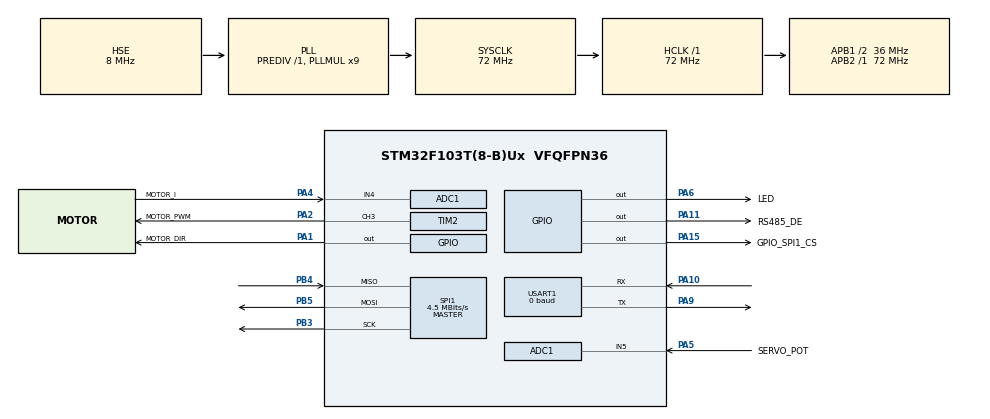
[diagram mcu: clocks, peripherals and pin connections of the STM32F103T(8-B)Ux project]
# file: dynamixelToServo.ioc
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ADC1.Channel-14\#ChannelRegularConversion=ADC_CHANNEL_4
ADC1.Channel-15\#ChannelRegularConversion=ADC_CHANNEL_4
ADC1.Channel-16\#ChannelRegularConversion=ADC_CHANNEL_4
ADC1.Channel-17\#ChannelRegularConversion=ADC_CHANNEL_4
ADC1.Channel-18\#ChannelRegularConversion=ADC_CHANNEL_5
ADC1.Channel-19\#ChannelRegularConversion=ADC_CHANNEL_5
ADC1.Channel-20\#ChannelRegularConversion=ADC_CHANNEL_5
ADC1.Channel-21\#ChannelRegularConversion=ADC_CHANNEL_5
ADC1.NbrOfConversion=8
ADC1.NbrOfConversionFlag=1
ADC1.Rank-14\#ChannelRegularConversion=1
ADC1.Rank-15\#ChannelRegularConversion=2
ADC1.Rank-16\#ChannelRegularConversion=3
ADC1.Rank-17\#ChannelRegularConversion=4
ADC1.Rank-18\#ChannelRegularConversion=5
ADC1.Rank-19\#ChannelRegularConversion=6
ADC1.Rank-20\#ChannelRegularConversion=7
ADC1.Rank-21\#ChannelRegularConversion=8
ADC1.SamplingTime-14\#ChannelRegularConversion=ADC_SAMPLETIME_1CYCLE_5
ADC1.SamplingTime-15\#ChannelRegularConversion=ADC_SAMPLETIME_1CYCLE_5
ADC1.SamplingTime-16\#ChannelRegularConversion=ADC_SAMPLETIME_1CYCLE_5
ADC1.SamplingTime-17\#ChannelRegularConversion=ADC_SAMPLETIME_1CYCLE_5
ADC1.SamplingTime-18\#ChannelRegularConversion=ADC_SAMPLETIME_1CYCLE_5
ADC1.SamplingTime-19\#ChannelRegularConversion=ADC_SAMPLETIME_1CYCLE_5
ADC1.SamplingTime-20\#ChannelRegularConversion=ADC_SAMPLETIME_1CYCLE_5
ADC1.SamplingTime-21\#ChannelRegularConversion=ADC_SAMPLETIME_1CYCLE_5
ADC1.master=1
Dma.ADC1.2.Direction=DMA_PERIPH_TO_MEMORY
Dma.ADC1.2.Instance=DMA1_Channel1
Dma.ADC1.2.MemDataAlignment=DMA_MDATAALIGN_HALFWORD
Dma.ADC1.2.MemInc=DMA_MINC_ENABLE
Dma.ADC1.2.Mode=DMA_CIRCULAR
Dma.ADC1.2.PeriphDataAlignment=DMA_PDATAALIGN_HALFWORD
Dma.ADC1.2.PeriphInc=DMA_PINC_DISABLE
Dma.ADC1.2.Priority=DMA_PRIORITY_LOW
Dma.Request0=USART1_RX
Dma.Request1=USART1_TX
Dma.Request2=ADC1
Dma.Request3=SPI1_RX
Dma.Request4=SPI1_TX
Dma.SPI1_RX.3.Direction=DMA_PERIPH_TO_MEMORY
Dma.SPI1_RX.3.Instance=DMA1_Channel2
Dma.SPI1_RX.3.MemDataAlignment=DMA_MDATAALIGN_BYTE
Dma.SPI1_RX.3.MemInc=DMA_MINC_ENABLE
Dma.SPI1_RX.3.Mode=DMA_NORMAL
Dma.SPI1_RX.3.PeriphDataAlignment=DMA_PDATAALIGN_BYTE
Dma.SPI1_RX.3.PeriphInc=DMA_PINC_DISABLE
Dma.SPI1_RX.3.Priority=DMA_PRIORITY_LOW
Dma.SPI1_TX.4.Direction=DMA_MEMORY_TO_PERIPH
Dma.SPI1_TX.4.Instance=DMA1_Channel3
Dma.SPI1_TX.4.MemDataAlignment=DMA_MDATAALIGN_BYTE
Dma.SPI1_TX.4.MemInc=DMA_MINC_ENABLE
Dma.SPI1_TX.4.Mode=DMA_NORMAL
Dma.SPI1_TX.4.PeriphDataAlignment=DMA_PDATAALIGN_BYTE
Dma.SPI1_TX.4.PeriphInc=DMA_PINC_DISABLE
Dma.SPI1_TX.4.Priority=DMA_PRIORITY_LOW
Dma.USART1_RX.0.Direction=DMA_PERIPH_TO_MEMORY
Dma.USART1_RX.0.Instance=DMA1_Channel5
Dma.USART1_RX.0.MemDataAlignment=DMA_MDATAALIGN_BYTE
Dma.USART1_RX.0.MemInc=DMA_MINC_ENABLE
Dma.USART1_RX.0.Mode=DMA_NORMAL
Dma.USART1_RX.0.PeriphDataAlignment=DMA_PDATAALIGN_BYTE
Dma.USART1_RX.0.PeriphInc=DMA_PINC_DISABLE
Dma.USART1_RX.0.Priority=DMA_PRIORITY_VERY_HIGH
Dma.USART1_TX.1.Direction=DMA_MEMORY_TO_PERIPH
Dma.USART1_TX.1.Instance=DMA1_Channel4
Dma.USART1_TX.1.MemDataAlignment=DMA_MDATAALIGN_BYTE
Dma.USART1_TX.1.MemInc=DMA_MINC_ENABLE
Dma.USART1_TX.1.Mode=DMA_NORMAL
Dma.USART1_TX.1.PeriphDataAlignment=DMA_PDATAALIGN_BYTE
Dma.USART1_TX.1.PeriphInc=DMA_PINC_DISABLE
Dma.USART1_TX.1.Priority=DMA_PRIORITY_VERY_HIGH
Mcu.Family=STM32F1
Mcu.Name=STM32F103T(8-B)Ux
Mcu.Package=VFQFPN36
NVIC.DMA1_Channel1_IRQn=true\:0\:0\:false\:false\:true\:false
NVIC.DMA1_Channel2_IRQn=true\:0\:0\:false\:false\:true\:false
NVIC.DMA1_Channel3_IRQn=true\:0\:0\:false\:false\:true\:false
NVIC.DMA1_Channel4_IRQn=true\:0\:0\:false\:false\:true\:false
NVIC.DMA1_Channel5_IRQn=true\:0\:0\:false\:false\:true\:false
NVIC.PriorityGroup=NVIC_PRIORITYGROUP_4
NVIC.SPI1_IRQn=true\:0\:0\:false\:false\:true\:true
NVIC.USART1_IRQn=true\:0\:0\:false\:false\:true\:true
PA1.GPIO_Label=MOTOR_DIR
PA1.Signal=GPIO_Output
PA10.Mode=Asynchronous
PA10.Signal=USART1_RX
PA11.GPIO_Label=RS485_DE
PA11.Signal=GPIO_Output
PA13.Mode=Serial_Wire
PA13.Signal=SYS_JTMS-SWDIO
PA14.Mode=Serial_Wire
PA14.Signal=SYS_JTCK-SWCLK
PA15.GPIO_Label=GPIO_SPI1_CS
PA15.GPIO_Speed=GPIO_SPEED_FREQ_HIGH
PA15.PinState=GPIO_PIN_SET
PA15.Signal=GPIO_Output
PA2.GPIO_Label=MOTOR_PWM
PA2.GPIO_Speed=GPIO_SPEED_FREQ_MEDIUM
PA2.Signal=S_TIM2_CH3
PA4.GPIO_Label=MOTOR_I
PA4.Signal=ADCx_IN4
PA5.GPIO_Label=SERVO_POT
PA5.Signal=ADCx_IN5
PA6.GPIO_Label=LED
PA6.Signal=GPIO_Output
PA9.Mode=Asynchronous
PA9.Signal=USART1_TX
PB3.Mode=Full_Duplex_Master
PB3.Signal=SPI1_SCK
PB4.Mode=Full_Duplex_Master
PB4.Signal=SPI1_MISO
PB5.Mode=Full_Duplex_Master
PB5.Signal=SPI1_MOSI
PD0-OSC_IN.Mode=HSE-External-Oscillator
PD0-OSC_IN.Signal=RCC_OSC_IN
PD1-OSC_OUT.Mode=HSE-External-Oscillator
PD1-OSC_OUT.Signal=RCC_OSC_OUT
ProjectManager.HeapSize=0x200
ProjectManager.StackSize=0x400
ProjectManager.TargetToolchain=Other Toolchains (GPDSC)
RCC.ADCPresc=RCC_ADCPCLK2_DIV6
RCC.AHBFreq_Value=72000000
RCC.APB1CLKDivider=RCC_HCLK_DIV2
RCC.APB1Freq_Value=36000000
RCC.APB1TimFreq_Value=72000000
RCC.APB2Freq_Value=72000000
RCC.APB2TimFreq_Value=72000000
RCC.EnbaleCSS=true
RCC.HCLKFreq_Value=72000000
RCC.PLLMUL=RCC_PLL_MUL9
RCC.PLLSourceVirtual=RCC_PLLSOURCE_HSE
RCC.SYSCLKFreq_VALUE=72000000
RCC.SYSCLKSource=RCC_SYSCLKSOURCE_PLLCLK
RCC.USBFreq_Value=72000000
SH.ADCx_IN4.0=ADC1_IN4,IN4
SH.ADCx_IN5.0=ADC1_IN5,IN5
SH.S_TIM2_CH3.0=TIM2_CH3,PWM Generation3 CH3
SPI1.BaudRatePrescaler=SPI_BAUDRATEPRESCALER_16
SPI1.CLKPhase=SPI_PHASE_1EDGE
SPI1.CLKPolarity=SPI_POLARITY_LOW
SPI1.CalculateBaudRate=4.5 MBits/s
SPI1.Direction=SPI_DIRECTION_2LINES
SPI1.FirstBit=SPI_FIRSTBIT_MSB
SPI1.Mode=SPI_MODE_MASTER
SPI1.VirtualType=VM_MASTER
TIM1.Period=0xFFFF
TIM1.Prescaler=72
TIM2.AutoReloadPreload=TIM_AUTORELOAD_PRELOAD_ENABLE
TIM2.Channel-PWM\ Generation3\ CH3=TIM_CHANNEL_3
TIM2.ClockDivision=TIM_CLOCKDIVISION_DIV1
TIM2.Period=1023
TIM2.Prescaler=3
USART1.BaudRate=0
USART1.VirtualMode=VM_ASYNC
VP_CRC_VS_CRC.Mode=CRC_Activate
VP_TIM1_VS_ClockSourceINT.Mode=Internal
VP_TIM2_VS_ClockSourceINT.Mode=Internal
board=custom

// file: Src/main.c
/* USER CODE BEGIN Header */
/**
  ******************************************************************************
  * @file           : main.c
  * @brief          : Main program body
  ******************************************************************************
  ** This notice applies to any and all portions of this file
  * that are not between comment pairs USER CODE BEGIN and
  * USER CODE END. Other portions of this file, whether
  * inserted by the user or by software development tools
  * are owned by their respective copyright owners.
  *
  * COPYRIGHT(c) 2019 STMicroelectronics
  *
  * Redistribution and use in source and binary forms, with or without modification,
  * are permitted provided that the following conditions are met:
  *   1. Redistributions of source code must retain the above copyright notice,
  *      this list of conditions and the following disclaimer.
  *   2. Redistributions in binary form must reproduce the above copyright notice,
  *      this list of conditions and the following disclaimer in the documentation
  *      and/or other materials provided with the distribution.
  *   3. Neither the name of STMicroelectronics nor the names of its contributors
  *      may be used to endorse or promote products derived from this software
  *      without specific prior written permission.
  *
  * THIS SOFTWARE IS PROVIDED BY THE COPYRIGHT HOLDERS AND CONTRIBUTORS "AS IS"
  * AND ANY EXPRESS OR IMPLIED WARRANTIES, INCLUDING, BUT NOT LIMITED TO, THE
  * IMPLIED WARRANTIES OF MERCHANTABILITY AND FITNESS FOR A PARTICULAR PURPOSE ARE
  * DISCLAIMED. IN NO EVENT SHALL THE COPYRIGHT HOLDER OR CONTRIBUTORS BE LIABLE
  * FOR ANY DIRECT, INDIRECT, INCIDENTAL, SPECIAL, EXEMPLARY, OR CONSEQUENTIAL
  * DAMAGES (INCLUDING, BUT NOT LIMITED TO, PROCUREMENT OF SUBSTITUTE GOODS OR
  * SERVICES; LOSS OF USE, DATA, OR PROFITS; OR BUSINESS INTERRUPTION) HOWEVER
  * CAUSED AND ON ANY THEORY OF LIABILITY, WHETHER IN CONTRACT, STRICT LIABILITY,
  * OR TORT (INCLUDING NEGLIGENCE OR OTHERWISE) ARISING IN ANY WAY OUT OF THE USE
  * OF THIS SOFTWARE, EVEN IF ADVISED OF THE POSSIBILITY OF SUCH DAMAGE.
  *
  ******************************************************************************
  */
/* USER CODE END Header */

#include "main.h"

/* USER CODE BEGIN Includes */
#include "serial.h"
#include "protocol1.h"
#include "pid.h"
/* USER CODE END Includes */

ADC_HandleTypeDef hadc1;
DMA_HandleTypeDef hdma_adc1;

CRC_HandleTypeDef hcrc;

SPI_HandleTypeDef hspi1;
DMA_HandleTypeDef hdma_spi1_rx;
DMA_HandleTypeDef hdma_spi1_tx;

TIM_HandleTypeDef htim1;
TIM_HandleTypeDef htim2;

UART_HandleTypeDef huart1;
DMA_HandleTypeDef hdma_usart1_rx;
DMA_HandleTypeDef hdma_usart1_tx;

/* USER CODE BEGIN PV */
static Serial< SerialImpl<true, 128, true, 0, false, true, GPIOA_BASE, RS485_DE_Pin> >  serialBus(huart1);
static Protocol1 bus(serialBus);
SERIAL_IRQHANDLER_IMPL(serialBus, 1);
volatile uint16_t analogs[8];
/* USER CODE END PV */

void SystemClock_Config(void);
static void MX_GPIO_Init(void);
static void MX_DMA_Init(void);
static void MX_USART1_UART_Init(void);
static void MX_TIM2_Init(void);
static void MX_ADC1_Init(void);
static void MX_CRC_Init(void);
static void MX_TIM1_Init(void);
static void MX_SPI1_Init(void);

/* USER CODE BEGIN 0 */

void HAL_UART_ErrorCallback(UART_HandleTypeDef *huart)
{
	// restart DMA usart rx
	bus.StartSerial();
}

enum ControlMode
{
	position,
	torque,
	velocity
};

#define MAX_PWM 1023
ControlMode mode = ControlMode::position;
PID<5> pidPosition(100,0,0);
PID<5> pidTorque(100,0,0);
PID<5> pidCurrent(100,0,0);
bool reverseMotor = true;

#ifdef DEBUG
//#define DEBUG_PID
#endif
#if defined(DEBUG_PID)
	#define POSITION_COUNT 5000
	int16_t positions[POSITION_COUNT], pos = 0;
	#define LOG_PID(x)		{									\
								positions[pos++] = x;			\
								if (pos >= POSITION_COUNT)		\
									pos = 0;					\
							}
#else
	#define LOG_PID(x)
#endif

static void SetMotorPWM(uint16_t pwm)
{
	__HAL_TIM_SET_COMPARE(&htim2, TIM_CHANNEL_3, pwm);
}

static void SetMotorDir(bool cw)
{
	if (reverseMotor)
		cw = !cw;
	HAL_GPIO_WritePin(MOTOR_DIR_GPIO_Port, MOTOR_DIR_Pin, cw ? GPIO_PinState::GPIO_PIN_SET : GPIO_PinState::GPIO_PIN_RESET);
}

uint16_t GetusTick()
{
	return __HAL_TIM_GET_COUNTER(&htim1);

}
static void UpdateMotor()
{
	// do this better (average)
	uint32_t pot = (analogs[4] + analogs[5] + analogs[6] + analogs[7])/4;
	uint32_t iload = (analogs[0] + analogs[1] + analogs[2] + analogs[3])/4;

	//printf("pot=%d, iload=%d\n", pot,iload);
	// put "mode" in free register (eeprom, ram?)
	// mode - position, torque (i), velocity (pwm)
	bus.registers.c.PresentPosition = pot;
	bus.registers.c.PresentLoad = iload;

	static bool running = false;
	if (bus.registers.c.TorqueEnable)
	{
		running = true;

		if (mode == ControlMode::position)
		{
			int16_t position_error = (int16_t)pot - (int16_t)bus.registers.c.GoalPosition;
			int16_t pwm = pidPosition.Update(position_error);

			LOG_PID(position_error);

			if (pwm < 0)
				SetMotorDir(false);
			else
				SetMotorDir(true);

			pwm = abs(pwm);

			if (bus.registers.c.TorqueLimit < 0x3FF)
			{
				int16_t torque_error = (int16_t)iload - (int16_t)bus.registers.c.TorqueLimit;
				int16_t torque_pwm = abs(pidTorque.Update(torque_error));

				if (torque_pwm < pwm)
					pwm = torque_pwm;
			}

			if (pwm > MAX_PWM)
				pwm = MAX_PWM;
			SetMotorPWM(pwm);
		}
		else if (mode == ControlMode::torque)
		{
			int16_t torque_error = (int16_t)iload - (int16_t)bus.registers.c.TorqueLimit;
			int16_t pwm = pidTorque.Update(torque_error);

			LOG_PID(torque_error);

			if (bus.registers.c.MovingSpeed & 0x400)
				SetMotorDir(false);
			else
				SetMotorDir(true);

			pwm = abs(pwm);

			if (pwm > MAX_PWM)
				pwm = MAX_PWM;
			SetMotorPWM(pwm);
		}
		else if (mode == ControlMode::velocity)
		{
			int16_t pwm = bus.registers.c.MovingSpeed & 0x3FF;

			if (bus.registers.c.TorqueLimit < 0x3FF)
			{
				int16_t torque_error = (int16_t)iload - (int16_t)bus.registers.c.TorqueLimit;
				int16_t torque_pwm = abs(pidTorque.Update(torque_error));

				if (torque_pwm < pwm)
					pwm = torque_pwm;
			}

			LOG_PID(pwm);

			if (bus.registers.c.MovingSpeed & 0x400)
				SetMotorDir(false);
			else
				SetMotorDir(true);

			SetMotorPWM(pwm);
		}

	}
	else
	{
		if (running)
		{
			SetMotorPWM(0);

			#ifdef DEBUG_PID
				for (int i = 0; i < POSITION_COUNT; i++)
				{
					printf("%d,%d\n", i, positions[pos++]);
					if (pos >= POSITION_COUNT)
					{
						pos = 0;
					}
				}
			#endif

			running = false;
		}
	}

	HAL_GPIO_WritePin(LED_GPIO_Port, LED_Pin, bus.registers.c.LEDStatus ? GPIO_PinState::GPIO_PIN_RESET : GPIO_PinState::GPIO_PIN_SET);
	//HAL_GPIO_WritePin(LED_GPIO_Port, LED_Pin, bus.registers.c.TorqueEnable ? GPIO_PinState::GPIO_PIN_RESET : GPIO_PinState::GPIO_PIN_SET);
}

static void MainLoop()
{
	static uint32_t last_tick = 0;
	uint32_t tick = HAL_GetTick();

	bus.Process();	// returns true if there is a new packet

	static bool reading_analogs = false;
	if (reading_analogs)
	{
		if (__HAL_DMA_GET_FLAG(&hdma_adc1, DMA_FLAG_TC1))
		{
			reading_analogs = false;
			// ADC done.
			UpdateMotor();
		}
	}
	else if (tick != last_tick)
	{
		last_tick = tick;
		// ReadAnalog();
		// every ms, start ADC, when done, update pid
		HAL_ADC_Stop_DMA(&hadc1);
		HAL_ADC_Start_DMA(&hadc1, (uint32_t*)analogs, 8);
		reading_analogs = true;

		// Also check the rx dma is still running
//		if(!(hdma_usart1_rx.Instance->CCR & DMA_CCR_EN))
//		{
//			bus.StartSerial();
//		}
	}
}

static void Init()
{
	bus.Start();

	mode = ControlMode::position;
}

/* USER CODE END 0 */

int main(void)
{

  /* MCU Configuration--------------------------------------------------------*/

  /* Reset of all peripherals, Initializes the Flash interface and the Systick. */
  HAL_Init();

  /* Configure the system clock */
  SystemClock_Config();

  /* Initialize all configured peripherals */
  MX_GPIO_Init();
  MX_DMA_Init();
  MX_USART1_UART_Init();
  MX_TIM2_Init();
  MX_ADC1_Init();
  MX_CRC_Init();
  MX_TIM1_Init();
  MX_SPI1_Init();
  /* USER CODE BEGIN 2 */
  Init();

  /* USER CODE END 2 */

  /* Infinite loop */
  while (1)
  {

    /* USER CODE BEGIN 3 */
	MainLoop();
  }
  /* USER CODE END 3 */
}

void SystemClock_Config(void)
{
  RCC_OscInitTypeDef RCC_OscInitStruct = {0};
  RCC_ClkInitTypeDef RCC_ClkInitStruct = {0};
  RCC_PeriphCLKInitTypeDef PeriphClkInit = {0};

  /**Initializes the CPU, AHB and APB busses clocks
  */
  RCC_OscInitStruct.OscillatorType = RCC_OSCILLATORTYPE_HSE;
  RCC_OscInitStruct.HSEState = RCC_HSE_ON;
  RCC_OscInitStruct.HSEPredivValue = RCC_HSE_PREDIV_DIV1;
  RCC_OscInitStruct.HSIState = RCC_HSI_ON;
  RCC_OscInitStruct.PLL.PLLState = RCC_PLL_ON;
  RCC_OscInitStruct.PLL.PLLSource = RCC_PLLSOURCE_HSE;
  RCC_OscInitStruct.PLL.PLLMUL = RCC_PLL_MUL9;
  if (HAL_RCC_OscConfig(&RCC_OscInitStruct) != HAL_OK)
  {
    Error_Handler();
  }
  /**Initializes the CPU, AHB and APB busses clocks
  */
  RCC_ClkInitStruct.ClockType = RCC_CLOCKTYPE_HCLK|RCC_CLOCKTYPE_SYSCLK
                              |RCC_CLOCKTYPE_PCLK1|RCC_CLOCKTYPE_PCLK2;
  RCC_ClkInitStruct.SYSCLKSource = RCC_SYSCLKSOURCE_PLLCLK;
  RCC_ClkInitStruct.AHBCLKDivider = RCC_SYSCLK_DIV1;
  RCC_ClkInitStruct.APB1CLKDivider = RCC_HCLK_DIV2;
  RCC_ClkInitStruct.APB2CLKDivider = RCC_HCLK_DIV1;

  if (HAL_RCC_ClockConfig(&RCC_ClkInitStruct, FLASH_LATENCY_2) != HAL_OK)
  {
    Error_Handler();
  }
  PeriphClkInit.PeriphClockSelection = RCC_PERIPHCLK_ADC;
  PeriphClkInit.AdcClockSelection = RCC_ADCPCLK2_DIV6;
  if (HAL_RCCEx_PeriphCLKConfig(&PeriphClkInit) != HAL_OK)
  {
    Error_Handler();
  }
  /**Enables the Clock Security System
  */
  HAL_RCC_EnableCSS();
}

static void MX_ADC1_Init(void)
{

  ADC_ChannelConfTypeDef sConfig = {0};

  /**Common config
  */
  hadc1.Instance = ADC1;
  hadc1.Init.ScanConvMode = ADC_SCAN_ENABLE;
  hadc1.Init.ContinuousConvMode = DISABLE;
  hadc1.Init.DiscontinuousConvMode = DISABLE;
  hadc1.Init.ExternalTrigConv = ADC_SOFTWARE_START;
  hadc1.Init.DataAlign = ADC_DATAALIGN_RIGHT;
  hadc1.Init.NbrOfConversion = 8;
  if (HAL_ADC_Init(&hadc1) != HAL_OK)
  {
    Error_Handler();
  }
  /**Configure Regular Channel
  */
  sConfig.Channel = ADC_CHANNEL_4;
  sConfig.Rank = ADC_REGULAR_RANK_1;
  sConfig.SamplingTime = ADC_SAMPLETIME_1CYCLE_5;
  if (HAL_ADC_ConfigChannel(&hadc1, &sConfig) != HAL_OK)
  {
    Error_Handler();
  }
  /**Configure Regular Channel
  */
  sConfig.Rank = ADC_REGULAR_RANK_2;
  if (HAL_ADC_ConfigChannel(&hadc1, &sConfig) != HAL_OK)
  {
    Error_Handler();
  }
  /**Configure Regular Channel
  */
  sConfig.Rank = ADC_REGULAR_RANK_3;
  if (HAL_ADC_ConfigChannel(&hadc1, &sConfig) != HAL_OK)
  {
    Error_Handler();
  }
  /**Configure Regular Channel
  */
  sConfig.Rank = ADC_REGULAR_RANK_4;
  if (HAL_ADC_ConfigChannel(&hadc1, &sConfig) != HAL_OK)
  {
    Error_Handler();
  }
  /**Configure Regular Channel
  */
  sConfig.Channel = ADC_CHANNEL_5;
  sConfig.Rank = ADC_REGULAR_RANK_5;
  if (HAL_ADC_ConfigChannel(&hadc1, &sConfig) != HAL_OK)
  {
    Error_Handler();
  }
  /**Configure Regular Channel
  */
  sConfig.Rank = ADC_REGULAR_RANK_6;
  if (HAL_ADC_ConfigChannel(&hadc1, &sConfig) != HAL_OK)
  {
    Error_Handler();
  }
  /**Configure Regular Channel
  */
  sConfig.Rank = ADC_REGULAR_RANK_7;
  if (HAL_ADC_ConfigChannel(&hadc1, &sConfig) != HAL_OK)
  {
    Error_Handler();
  }
  /**Configure Regular Channel
  */
  sConfig.Rank = ADC_REGULAR_RANK_8;
  if (HAL_ADC_ConfigChannel(&hadc1, &sConfig) != HAL_OK)
  {
    Error_Handler();
  }
  /* USER CODE BEGIN ADC1_Init 2 */
  HAL_ADCEx_Calibration_Start(&hadc1);

  hdma_adc1.Instance = DMA1_Channel1;
  hdma_adc1.Init.Direction = DMA_PERIPH_TO_MEMORY;
  hdma_adc1.Init.PeriphInc = DMA_PINC_DISABLE;
  hdma_adc1.Init.MemInc = DMA_MINC_ENABLE;
  hdma_adc1.Init.PeriphDataAlignment = DMA_PDATAALIGN_HALFWORD;
  hdma_adc1.Init.MemDataAlignment = DMA_MDATAALIGN_HALFWORD;
  hdma_adc1.Init.Mode = DMA_CIRCULAR;
  hdma_adc1.Init.Priority = DMA_PRIORITY_LOW;

  if (HAL_DMA_Init(&hdma_adc1) != HAL_OK)
  {
  }
  /* USER CODE END ADC1_Init 2 */

}

static void MX_CRC_Init(void)
{

  hcrc.Instance = CRC;
  if (HAL_CRC_Init(&hcrc) != HAL_OK)
  {
    Error_Handler();
  }

}

static void MX_SPI1_Init(void)
{

  /* SPI1 parameter configuration*/
  hspi1.Instance = SPI1;
  hspi1.Init.Mode = SPI_MODE_MASTER;
  hspi1.Init.Direction = SPI_DIRECTION_2LINES;
  hspi1.Init.DataSize = SPI_DATASIZE_8BIT;
  hspi1.Init.CLKPolarity = SPI_POLARITY_LOW;
  hspi1.Init.CLKPhase = SPI_PHASE_1EDGE;
  hspi1.Init.NSS = SPI_NSS_SOFT;
  hspi1.Init.BaudRatePrescaler = SPI_BAUDRATEPRESCALER_16;
  hspi1.Init.FirstBit = SPI_FIRSTBIT_MSB;
  hspi1.Init.TIMode = SPI_TIMODE_DISABLE;
  hspi1.Init.CRCCalculation = SPI_CRCCALCULATION_DISABLE;
  hspi1.Init.CRCPolynomial = 10;
  if (HAL_SPI_Init(&hspi1) != HAL_OK)
  {
    Error_Handler();
  }

}

static void MX_TIM1_Init(void)
{

  TIM_ClockConfigTypeDef sClockSourceConfig = {0};
  TIM_MasterConfigTypeDef sMasterConfig = {0};

  htim1.Instance = TIM1;
  htim1.Init.Prescaler = 72;
  htim1.Init.CounterMode = TIM_COUNTERMODE_UP;
  htim1.Init.Period = 0xFFFF;
  htim1.Init.ClockDivision = TIM_CLOCKDIVISION_DIV1;
  htim1.Init.RepetitionCounter = 0;
  htim1.Init.AutoReloadPreload = TIM_AUTORELOAD_PRELOAD_DISABLE;
  if (HAL_TIM_Base_Init(&htim1) != HAL_OK)
  {
    Error_Handler();
  }
  sClockSourceConfig.ClockSource = TIM_CLOCKSOURCE_INTERNAL;
  if (HAL_TIM_ConfigClockSource(&htim1, &sClockSourceConfig) != HAL_OK)
  {
    Error_Handler();
  }
  sMasterConfig.MasterOutputTrigger = TIM_TRGO_RESET;
  sMasterConfig.MasterSlaveMode = TIM_MASTERSLAVEMODE_DISABLE;
  if (HAL_TIMEx_MasterConfigSynchronization(&htim1, &sMasterConfig) != HAL_OK)
  {
    Error_Handler();
  }
  /* USER CODE BEGIN TIM1_Init 2 */
  HAL_TIM_Base_Start(&htim1);
  /* USER CODE END TIM1_Init 2 */

}

static void MX_TIM2_Init(void)
{

  TIM_ClockConfigTypeDef sClockSourceConfig = {0};
  TIM_MasterConfigTypeDef sMasterConfig = {0};
  TIM_OC_InitTypeDef sConfigOC = {0};

  htim2.Instance = TIM2;
  htim2.Init.Prescaler = 3;
  htim2.Init.CounterMode = TIM_COUNTERMODE_UP;
  htim2.Init.Period = 1023;
  htim2.Init.ClockDivision = TIM_CLOCKDIVISION_DIV1;
  htim2.Init.AutoReloadPreload = TIM_AUTORELOAD_PRELOAD_ENABLE;
  if (HAL_TIM_Base_Init(&htim2) != HAL_OK)
  {
    Error_Handler();
  }
  sClockSourceConfig.ClockSource = TIM_CLOCKSOURCE_INTERNAL;
  if (HAL_TIM_ConfigClockSource(&htim2, &sClockSourceConfig) != HAL_OK)
  {
    Error_Handler();
  }
  if (HAL_TIM_PWM_Init(&htim2) != HAL_OK)
  {
    Error_Handler();
  }
  sMasterConfig.MasterOutputTrigger = TIM_TRGO_RESET;
  sMasterConfig.MasterSlaveMode = TIM_MASTERSLAVEMODE_DISABLE;
  if (HAL_TIMEx_MasterConfigSynchronization(&htim2, &sMasterConfig) != HAL_OK)
  {
    Error_Handler();
  }
  sConfigOC.OCMode = TIM_OCMODE_PWM1;
  sConfigOC.Pulse = 0;
  sConfigOC.OCPolarity = TIM_OCPOLARITY_HIGH;
  sConfigOC.OCFastMode = TIM_OCFAST_DISABLE;
  if (HAL_TIM_PWM_ConfigChannel(&htim2, &sConfigOC, TIM_CHANNEL_3) != HAL_OK)
  {
    Error_Handler();
  }
  /* USER CODE BEGIN TIM2_Init 2 */
  SetMotorPWM(0);
  HAL_TIM_PWM_Start(&htim2, TIM_CHANNEL_3);
  /* USER CODE END TIM2_Init 2 */
  HAL_TIM_MspPostInit(&htim2);

}

static void MX_USART1_UART_Init(void)
{

  huart1.Instance = USART1;
  huart1.Init.BaudRate = 0;
  huart1.Init.WordLength = UART_WORDLENGTH_8B;
  huart1.Init.StopBits = UART_STOPBITS_1;
  huart1.Init.Parity = UART_PARITY_NONE;
  huart1.Init.Mode = UART_MODE_TX_RX;
  huart1.Init.HwFlowCtl = UART_HWCONTROL_NONE;
  huart1.Init.OverSampling = UART_OVERSAMPLING_16;
  if (HAL_UART_Init(&huart1) != HAL_OK)
  {
    Error_Handler();
  }
  /* USER CODE BEGIN USART1_Init 2 */
  hdma_usart1_rx.Instance = DMA1_Channel5;
  hdma_usart1_rx.Init.Direction = DMA_PERIPH_TO_MEMORY;
  hdma_usart1_rx.Init.PeriphInc = DMA_PINC_DISABLE;
  hdma_usart1_rx.Init.MemInc = DMA_MINC_ENABLE;
  hdma_usart1_rx.Init.PeriphDataAlignment = DMA_PDATAALIGN_BYTE;
  hdma_usart1_rx.Init.MemDataAlignment = DMA_MDATAALIGN_BYTE;
  hdma_usart1_rx.Init.Mode = DMA_CIRCULAR;
  hdma_usart1_rx.Init.Priority = DMA_PRIORITY_VERY_HIGH;

  if (HAL_DMA_Init(&hdma_usart1_rx) != HAL_OK)
  {
  }

  hdma_usart1_tx.Instance = DMA1_Channel4;
  hdma_usart1_tx.Init.Direction = DMA_MEMORY_TO_PERIPH;
  hdma_usart1_tx.Init.PeriphInc = DMA_PINC_DISABLE;
  hdma_usart1_tx.Init.MemInc = DMA_MINC_ENABLE;
  hdma_usart1_tx.Init.PeriphDataAlignment = DMA_PDATAALIGN_BYTE;
  hdma_usart1_tx.Init.MemDataAlignment = DMA_MDATAALIGN_BYTE;
  hdma_usart1_tx.Init.Mode = DMA_NORMAL;
  hdma_usart1_tx.Init.Priority = DMA_PRIORITY_VERY_HIGH;

  if (HAL_DMA_Init(&hdma_usart1_tx) != HAL_OK)
  {
  }

  /* USER CODE END USART1_Init 2 */

}

static void MX_DMA_Init(void)
{
  /* DMA controller clock enable */
  __HAL_RCC_DMA1_CLK_ENABLE();

  /* DMA interrupt init */
  /* DMA1_Channel1_IRQn interrupt configuration */
  HAL_NVIC_SetPriority(DMA1_Channel1_IRQn, 0, 0);
  HAL_NVIC_EnableIRQ(DMA1_Channel1_IRQn);
  /* DMA1_Channel2_IRQn interrupt configuration */
  HAL_NVIC_SetPriority(DMA1_Channel2_IRQn, 0, 0);
  HAL_NVIC_EnableIRQ(DMA1_Channel2_IRQn);
  /* DMA1_Channel3_IRQn interrupt configuration */
  HAL_NVIC_SetPriority(DMA1_Channel3_IRQn, 0, 0);
  HAL_NVIC_EnableIRQ(DMA1_Channel3_IRQn);
  /* DMA1_Channel4_IRQn interrupt configuration */
  HAL_NVIC_SetPriority(DMA1_Channel4_IRQn, 0, 0);
  HAL_NVIC_EnableIRQ(DMA1_Channel4_IRQn);
  /* DMA1_Channel5_IRQn interrupt configuration */
  HAL_NVIC_SetPriority(DMA1_Channel5_IRQn, 0, 0);
  HAL_NVIC_EnableIRQ(DMA1_Channel5_IRQn);

}

static void MX_GPIO_Init(void)
{
  GPIO_InitTypeDef GPIO_InitStruct = {0};

  /* GPIO Ports Clock Enable */
  __HAL_RCC_GPIOD_CLK_ENABLE();
  __HAL_RCC_GPIOA_CLK_ENABLE();
  __HAL_RCC_GPIOB_CLK_ENABLE();

  /*Configure GPIO pin Output Level */
  HAL_GPIO_WritePin(GPIOA, MOTOR_DIR_Pin|LED_Pin|RS485_DE_Pin, GPIO_PIN_RESET);

  /*Configure GPIO pin Output Level */
  HAL_GPIO_WritePin(GPIO_SPI1_CS_GPIO_Port, GPIO_SPI1_CS_Pin, GPIO_PIN_SET);

  /*Configure GPIO pins : MOTOR_DIR_Pin LED_Pin RS485_DE_Pin */
  GPIO_InitStruct.Pin = MOTOR_DIR_Pin|LED_Pin|RS485_DE_Pin;
  GPIO_InitStruct.Mode = GPIO_MODE_OUTPUT_PP;
  GPIO_InitStruct.Pull = GPIO_NOPULL;
  GPIO_InitStruct.Speed = GPIO_SPEED_FREQ_LOW;
  HAL_GPIO_Init(GPIOA, &GPIO_InitStruct);

  /*Configure GPIO pin : GPIO_SPI1_CS_Pin */
  GPIO_InitStruct.Pin = GPIO_SPI1_CS_Pin;
  GPIO_InitStruct.Mode = GPIO_MODE_OUTPUT_PP;
  GPIO_InitStruct.Pull = GPIO_NOPULL;
  GPIO_InitStruct.Speed = GPIO_SPEED_FREQ_HIGH;
  HAL_GPIO_Init(GPIO_SPI1_CS_GPIO_Port, &GPIO_InitStruct);

}

void Error_Handler(void)
{
}

/************************ (C) COPYRIGHT STMicroelectronics *****END OF FILE****/
